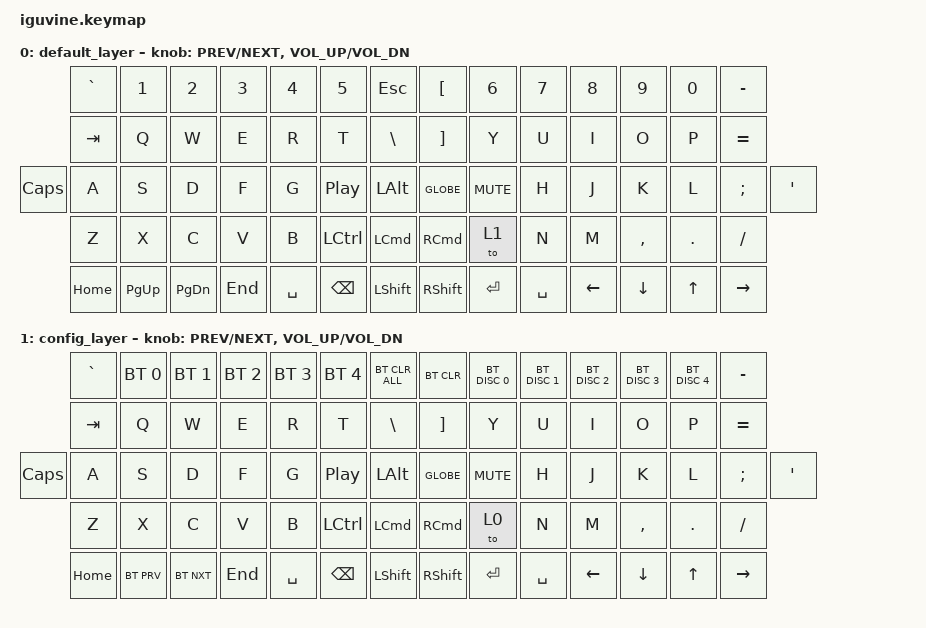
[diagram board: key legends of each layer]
/*
 * Copyright (c) 2020 The ZMK Contributors
 *
 * SPDX-License-Identifier: MIT
 */

#include <behaviors.dtsi>
#include <dt-bindings/zmk/keys.h>
#include <dt-bindings/zmk/bt.h>
#include <behaviors.dtsi>
#include <dt-bindings/zmk/keys.h>
#include <dt-bindings/zmk/bt.h>

/ {
        keymap {
                compatible = "zmk,keymap";

                default_layer {
                        bindings = <
                                &kp GRAVE &kp N1 &kp N2 &kp N3 &kp N4 &kp N5 &kp ESC &kp LBKT &kp N6 &kp N7 &kp N8 &kp N9 &kp N0 &kp MINUS
                                &kp TAB &kp Q &kp W &kp E &kp R &kp T &kp BSLH &kp RBKT &kp Y &kp U &kp I &kp O &kp P &kp EQUAL
                                &kp CAPS &kp A &kp S &kp D &kp F &kp G &kp C_PP &kp LALT &kp GLOBE &kp C_MUTE &kp H &kp J &kp K &kp L &kp SEMI &kp SQT
                                &kp Z &kp X &kp C &kp V &kp B &kp LCTRL &kp LCMD &kp RCMD &to 1 &kp N &kp M &kp COMMA &kp DOT &kp FSLH
                                &kp HOME &kp PG_UP &kp PG_DN &kp END &kp SPACE &kp BSPC &kp LSHIFT &kp RSHIFT &kp ENTER &kp SPACE &kp LEFT &kp DOWN &kp UP &kp RIGHT
                        >;
                        sensor-bindings = <&inc_dec_kp C_PREV C_NEXT &inc_dec_kp C_VOL_UP C_VOL_DN>;
                };
                config_layer {
                        bindings = <
                                &kp GRAVE &bt BT_SEL 0 &bt BT_SEL 1 &bt BT_SEL 2 &bt BT_SEL 3 &bt BT_SEL 4 &bt BT_CLR_ALL &bt BT_CLR &bt BT_DISC 0 &bt BT_DISC 1 &bt BT_DISC 2 &bt BT_DISC 3 &bt BT_DISC 4 &kp MINUS
                                &kp TAB &kp Q &kp W &kp E &kp R &kp T &kp BSLH &kp RBKT &kp Y &kp U &kp I &kp O &kp P &kp EQUAL
                                &kp CAPS &kp A &kp S &kp D &kp F &kp G &kp C_PP &kp LALT &kp GLOBE &kp C_MUTE &kp H &kp J &kp K &kp L &kp SEMI &kp SQT
                                &kp Z &kp X &kp C &kp V &kp B &kp LCTRL &kp LCMD &kp RCMD &to 0 &kp N &kp M &kp COMMA &kp DOT &kp FSLH
                                &kp HOME &bt BT_PRV &bt BT_NXT &kp END &kp SPACE &kp BSPC &kp LSHIFT &kp RSHIFT &kp ENTER &kp SPACE &kp LEFT &kp DOWN &kp UP &kp RIGHT
                        >;
                        sensor-bindings = <&inc_dec_kp C_PREV C_NEXT &inc_dec_kp C_VOL_UP C_VOL_DN>;
                };
        };
};
